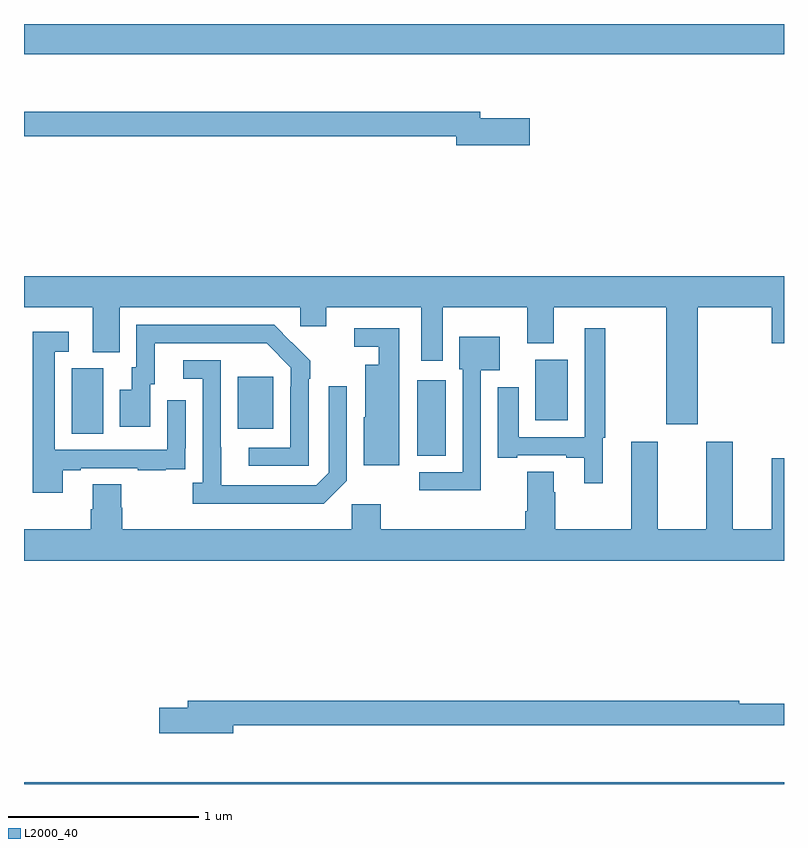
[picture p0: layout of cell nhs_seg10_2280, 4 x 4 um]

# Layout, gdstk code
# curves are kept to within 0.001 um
import gdstk
lib = gdstk.Library(unit=1e-6, precision=1e-09)
def R(c, l, rs):  # rectangles x0, y0, x1, y1
    for r in rs: c.add(gdstk.rectangle(r[:2], r[2:], *l))
def P(c, l, *ps):  # polygons
    for p in ps: c.add(gdstk.Polygon(p, *l))
L2000_40 = (2000, 40)

nhs_seg10_2280 = lib.new_cell('nhs_seg10_2280')
R(nhs_seg10_2280, L2000_40, [(233,1272.5,237,1272.508), (235.07,1274.227,235.219,1274.626), (233.252,1274.344,233.416,1274.688), (234.125,1274.369,234.313,1274.644), (235.691,1274.414,235.861,1274.734), (233,1276.34,237,1276.5)])
P(nhs_seg10_2280, L2000_40, [(235.663,1276.005),(235.402,1276.005),(235.402,1276.039),(233,1276.039),(233,1275.91),(235.274,1275.91),(235.274,1275.863),(235.663,1275.863)],
  [(233,1275.008),(233.363,1275.008),(233.363,1274.773),(233.503,1274.773),(233.503,1275.008),(234.453,1275.008),(234.453,1274.91),(234.592,1274.91),(234.592,1275.008),(235.091,1275.008),(235.091,1274.727),(235.204,1274.727),(235.204,1275.008),(235.649,1275.008),(235.649,1274.819),(235.789,1274.819),(235.789,1275.008),(236.381,1275.008),(236.381,1274.394),(236.545,1274.394),(236.545,1275.008),(236.936,1275.008),(236.936,1274.82),(237,1274.82),(237,1275.172),(233,1275.172)],
  [(234.498,1274.633),(234.506,1274.633),(234.506,1274.728),(234.316,1274.916),(233.592,1274.916),(233.592,1274.694),(233.567,1274.694),(233.567,1274.575),(233.504,1274.575),(233.504,1274.379),(233.665,1274.379),(233.665,1274.604),(233.689,1274.604),(233.689,1274.82),(234.277,1274.82),(234.405,1274.691),(234.405,1274.591),(234.402,1274.591),(234.402,1274.271),(234.183,1274.271),(234.183,1274.175),(234.498,1274.175)],
  [(236.047,1274.322),(236.059,1274.322),(236.059,1274.899),(235.95,1274.899),(235.95,1274.325),(235.603,1274.325),(235.603,1274.587),(235.493,1274.587),(235.493,1274.217),(235.597,1274.217),(235.597,1274.229),(235.853,1274.229),(235.853,1274.217),(235.949,1274.217),(235.949,1274.082),(236.047,1274.082)],
  [(234.976,1274.613),(234.975,1274.613),(234.975,1274.898),(234.738,1274.898),(234.738,1274.802),(234.867,1274.802),(234.867,1274.707),(234.797,1274.707),(234.797,1274.43),(234.788,1274.43),(234.788,1274.177),(234.976,1274.177)],
  [(233.203,1274.151),(233.299,1274.151),(233.299,1274.163),(233.599,1274.163),(233.599,1274.151),(233.747,1274.151),(233.747,1274.157),(233.849,1274.157),(233.849,1274.266),(233.85,1274.266),(233.85,1274.521),(233.754,1274.521),(233.754,1274.259),(233.163,1274.259),(233.163,1274.775),(233.236,1274.775),(233.236,1274.881),(233.047,1274.881),(233.047,1274.034),(233.203,1274.034)],
  [(235.404,1274.678),(235.504,1274.678),(235.504,1274.854),(235.292,1274.854),(235.292,1274.682),(235.308,1274.682),(235.308,1274.142),(235.08,1274.142),(235.08,1274.045),(235.404,1274.045)],
  [(234.699,1274.097),(234.699,1274.593),(234.603,1274.593),(234.603,1274.139),(234.537,1274.073),(234.037,1274.073),(234.036,1274.73),(233.838,1274.73),(233.838,1274.634),(233.94,1274.634),(233.94,1274.086),(233.889,1274.086),(233.889,1273.976),(234.578,1273.976)],
  [(237,1274.215),(236.936,1274.215),(236.936,1273.84),(236.731,1273.84),(236.731,1274.302),(236.591,1274.302),(236.591,1273.84),(236.335,1273.84),(236.335,1274.302),(236.195,1274.302),(236.195,1273.84),(235.797,1273.84),(235.797,1274.036),(235.789,1274.036),(235.789,1274.144),(235.649,1274.144),(235.649,1273.936),(235.637,1273.936),(235.637,1273.84),(234.878,1273.84),(234.878,1273.972),(234.726,1273.972),(234.726,1273.84),(233.516,1273.84),(233.516,1273.953),(233.511,1273.953),(233.511,1274.078),(233.363,1274.078),(233.363,1273.946),(233.351,1273.946),(233.351,1273.84),(233,1273.84),(233,1273.676),(237,1273.676)],
  [(234.1,1272.81),(237,1272.81),(237,1272.923),(236.765,1272.923),(236.765,1272.938),(233.861,1272.938),(233.861,1272.902),(233.712,1272.902),(233.712,1272.767),(234.1,1272.767)])

lib.write_gds('nhs_seg10_2280.gds')
